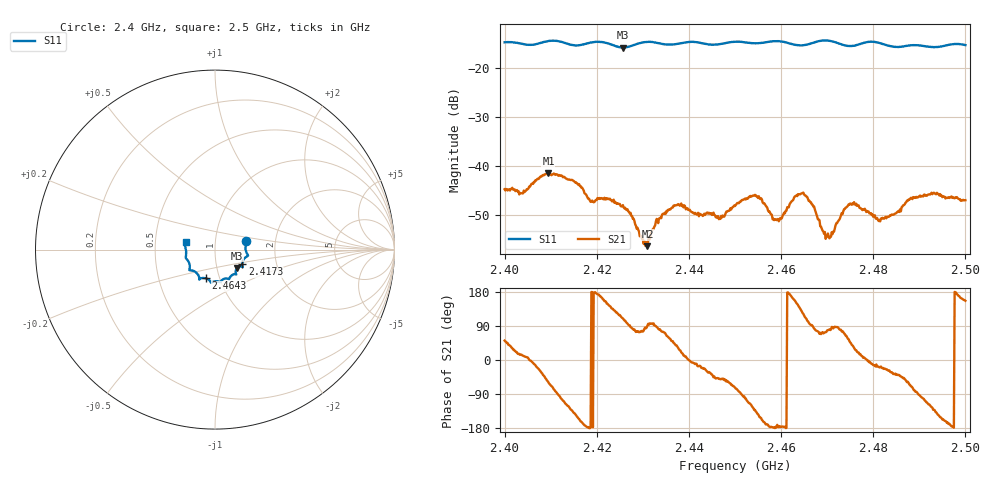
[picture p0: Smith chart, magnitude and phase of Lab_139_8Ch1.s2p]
# Hz S RI R 50
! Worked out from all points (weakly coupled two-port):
!   601 points, 2.4 GHz to 2.5 GHz, reference 50 ohm
!   highest |S21| = -41.44 dB at 2.4095 GHz (marker M1); lowest = -56.2 dB at 2.431 GHz (marker M2)
!   lowest |S11| = -15.9 dB at 2.4257 GHz (marker M3), VSWR 1.38, Z = 62.4 - j13.1 ohm
!   |S11| at or under -10 dB: start of sweep to end of sweep
!   S12 and S22 are empty: the file has one direction only
!   S11 on the Smith chart (normalised r, x): 2.4 GHz: 1.41, +0.14; 2.4173 GHz: 1.34, -0.23; 2.4643 GHz: 0.86, -0.28; 2.5 GHz: 0.72, +0.06
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2.4e9  0.1737 0.0492  0.00365 0.00453  0 0  0 0
2.403667e9  0.1723 0.0285  0.00514 0.00129  0 0  0 0
2.4095e9  0.1832 -0.0307  0.0044 -0.00724  0 0  0 0
2.416667e9  0.1524 -0.0749  -0.00576 -0.00176  0 0  0 0
2.417333e9  0.1519 -0.0822  -0.00526 -0.000711  0 0  0 0
2.419e9  0.1534 -0.0951  -0.00447 5.81e-05  0 0  0 0
2.425667e9  0.1224 -0.1025  -0.00137 0.00378  0 0  0 0
2.431e9  0.1191 -0.138  -3.35e-05 0.00154  0 0  0 0
2.433333e9  0.1127 -0.1366  0.000343 0.00262  0 0  0 0
2.437333e9  0.0854 -0.1508  0.00314 0.00248  0 0  0 0
2.446333e9  0.0446 -0.166  0.00208 -0.00231  0 0  0 0
2.45e9  0.0295 -0.1807  0.00117 -0.00376  0 0  0 0
2.454667e9  0.00459 -0.1762  -0.00364 -0.00331  0 0  0 0
2.4595e9  -0.0227 -0.1839  -0.00275 -0.00014  0 0  0 0
2.464333e9  -0.0502 -0.1601  -0.00345 0.00398  0 0  0 0
2.466667e9  -0.0761 -0.1594  -0.000159 0.00409  0 0  0 0
2.470167e9  -0.0872 -0.1661  0.000395 0.00203  0 0  0 0
2.475333e9  -0.1097 -0.1237  0.0031 0.00261  0 0  0 0
2.481e9  -0.1424 -0.1092  0.00273 -0.00085  0 0  0 0
2.483333e9  -0.1404 -0.0895  0.0027 -0.00142  0 0  0 0
2.492833e9  -0.1604 -0.0157  -0.00304 -0.0042  0 0  0 0
2.5e9  -0.1638 0.0417  -0.00413 0.00181  0 0  0 0
